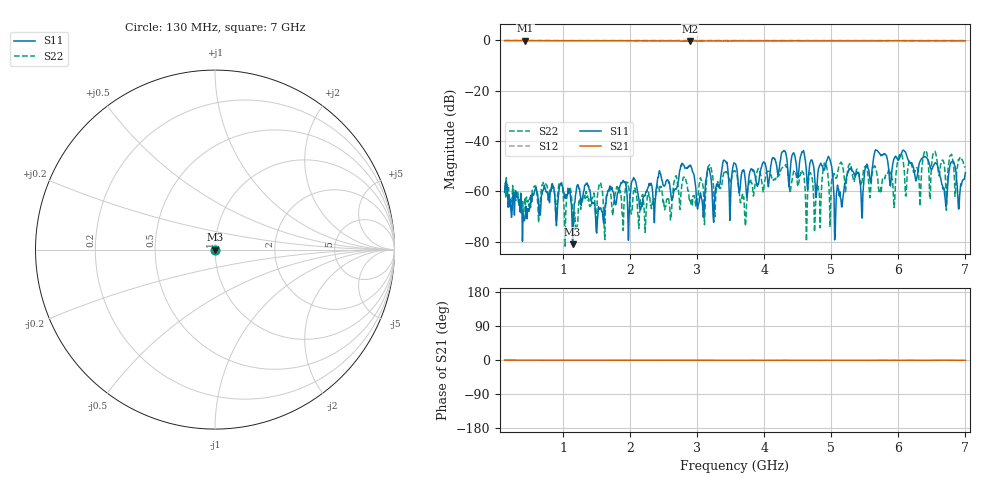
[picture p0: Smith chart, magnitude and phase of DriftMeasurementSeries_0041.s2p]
# Hz S RI R 50.000000
! Metas.Vna.Tools, 2.8.8664.20301
! Metas.Vna.Data, 2.8.8664.20285
! Created: UTC 2024.02.11 10:08:19
! FREQ  re:S1,1  im:S1,1  re:S2,1  im:S2,1  re:S1,2  im:S1,2  re:S2,2  im:S2,2
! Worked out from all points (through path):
!   801 points, 130 MHz to 7 GHz, reference 50 ohm
!   highest |S21| = -0.03 dB at 439.1 MHz (marker M1); lowest = -0.3 dB at 2.895 GHz (marker M2)
!   lowest |S11| = -81.1 dB at 1.143 GHz (marker M3), VSWR 1.00, Z = 50 - j0.0026 ohm
!   |S11| at or under -10 dB: start of sweep to end of sweep
!   |S22| runs from -81.8 to -43.7 dB; largest |S21 - S12| = 0.029
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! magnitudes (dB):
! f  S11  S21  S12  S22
! 130 MHz  -60.4  -0.1  0.0  -60.3
! 439.1 MHz  -70.2  0.0  0.0  -65.3
! 971.6 MHz  -57.0  -0.1  0.0  -57.1
! 1.143 GHz  -81.1  -0.1  0.0  -68.9
! 1.281 GHz  -63.0  -0.1  0.0  -63.0
! 1.521 GHz  -69.2  -0.1  0.0  -60.3
! 2.423 GHz  -54.5  -0.1  0.0  -57.8
! 2.895 GHz  -49.5  -0.3  0.0  -63.5
! 3.067 GHz  -63.0  -0.2  0.0  -55.6
! 3.161 GHz  -50.9  -0.3  0.0  -50.2
! 3.256 GHz  -65.5  -0.2  0.0  -66.9
! 3.565 GHz  -48.9  -0.2  0.0  -51.8
! 3.711 GHz  -53.9  -0.2  0.0  -70.4
! 3.917 GHz  -56.9  -0.1  0.0  -50.9
! 4.716 GHz  -47.7  -0.2  0.0  -54.8
! 4.913 GHz  -49.9  -0.2  0.0  -49.6
! 4.973 GHz  -46.8  -0.2  0.0  -62.7
! 5.076 GHz  -60.9  -0.2  0.0  -54.8
! 5.454 GHz  -68.9  -0.2  0.0  -56.7
! 5.678 GHz  -43.7  -0.2  0.0  -52.5
! 5.858 GHz  -51.5  -0.1  0.0  -51.1
! 7 GHz  -52.5  -0.2  0.0  -50.5
